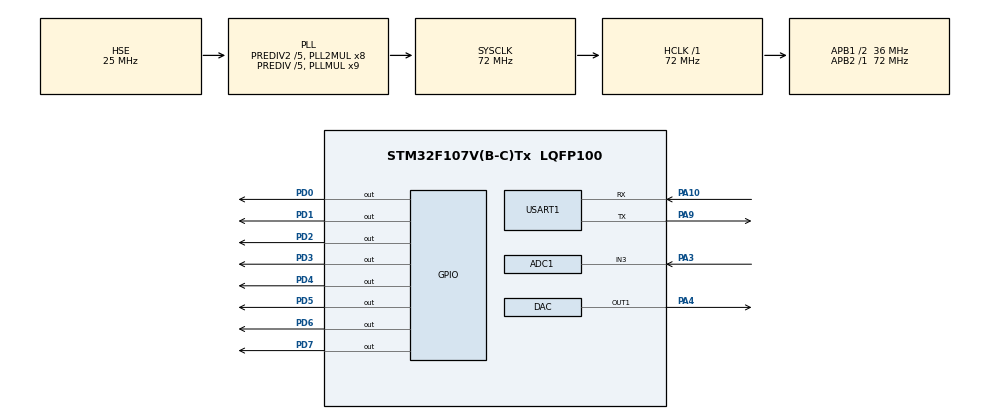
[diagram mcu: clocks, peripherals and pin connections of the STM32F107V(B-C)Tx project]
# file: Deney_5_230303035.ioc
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ADC1.Channel-0\#ChannelRegularConversion=ADC_CHANNEL_3
ADC1.NbrOfConversionFlag=1
ADC1.Rank-0\#ChannelRegularConversion=1
ADC1.SamplingTime-0\#ChannelRegularConversion=ADC_SAMPLETIME_55CYCLES_5
ADC1.master=1
Mcu.Family=STM32F1
Mcu.Name=STM32F107V(B-C)Tx
Mcu.Package=LQFP100
NVIC.PriorityGroup=NVIC_PRIORITYGROUP_4
OSC_IN.Mode=HSE-External-Oscillator
OSC_IN.Signal=RCC_OSC_IN
OSC_OUT.Mode=HSE-External-Oscillator
OSC_OUT.Signal=RCC_OSC_OUT
PA10.Mode=Asynchronous
PA10.Signal=USART1_RX
PA13.Mode=Serial_Wire
PA13.Signal=SYS_JTMS-SWDIO
PA14.Mode=Serial_Wire
PA14.Signal=SYS_JTCK-SWCLK
PA3.Signal=ADCx_IN3
PA4.Signal=COMP_DAC1_group
PA9.Mode=Asynchronous
PA9.Signal=USART1_TX
PD0.Signal=GPIO_Output
PD1.Signal=GPIO_Output
PD2.Signal=GPIO_Output
PD3.Signal=GPIO_Output
PD4.Signal=GPIO_Output
PD5.Signal=GPIO_Output
PD6.Signal=GPIO_Output
PD7.Signal=GPIO_Output
ProjectManager.HeapSize=0x200
ProjectManager.StackSize=0x400
ProjectManager.TargetToolchain=STM32CubeIDE
RCC.ADCPresc=RCC_ADCPCLK2_DIV6
RCC.AHBFreq_Value=72000000
RCC.APB1CLKDivider=RCC_HCLK_DIV2
RCC.APB1Freq_Value=36000000
RCC.APB1TimFreq_Value=72000000
RCC.APB2Freq_Value=72000000
RCC.APB2TimFreq_Value=72000000
RCC.HCLKFreq_Value=72000000
RCC.HSEDivPLL=RCC_HSE_PREDIV_DIV5
RCC.HSE_VALUE=25000000
RCC.PLLMUL=RCC_PLL_MUL9
RCC.PLLSourceVirtual=RCC_PLLSOURCE_HSE
RCC.Prediv1Source=RCC_PREDIV1_SOURCE_PLL2
RCC.Prediv2=RCC_HSE_PREDIV2_DIV5
RCC.SYSCLKFreq_VALUE=72000000
RCC.SYSCLKSource=RCC_SYSCLKSOURCE_PLLCLK
RCC.USBFreq_Value=48000000
SH.ADCx_IN3.0=ADC1_IN3,IN3
SH.COMP_DAC1_group.0=DAC_OUT1,DAC_OUT1
USART1.VirtualMode=VM_ASYNC
board=custom

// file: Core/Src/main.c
/* USER CODE BEGIN Header */
/**
  ******************************************************************************
  * @file           : main.c
  * @brief          : Main program body
  ******************************************************************************
  * @attention
  *
  * Copyright (c) 2026 STMicroelectronics.
  * All rights reserved.
  *
  * This software is licensed under terms that can be found in the LICENSE file
  * in the root directory of this software component.
  * If no LICENSE file comes with this software, it is provided AS-IS.
  *
  ******************************************************************************
  */
/* USER CODE END Header */
#include "main.h"

/* USER CODE BEGIN Includes */

#include <stdio.h>
#include <string.h>

/* USER CODE END Includes */

ADC_HandleTypeDef hadc1;

DAC_HandleTypeDef hdac;

UART_HandleTypeDef huart1;

void SystemClock_Config(void);
static void MX_GPIO_Init(void);
static void MX_ADC1_Init(void);
static void MX_USART1_UART_Init(void);
static void MX_DAC_Init(void);

/* USER CODE BEGIN 0 */

//1. KISIM --- 2.KISIMA BAK!!!!!1
//Video 4 --> aygıt yöneticisinden çalışanı bulacaksın sonra putteyden (videoda com13 115200)hızını ve aygıtı gireceksin videoyu izle
void LED_yak(uint32_t adc_val){
	 if(adc_val < 500)
		 GPIOD->ODR = 0X00000001;
	 if(adc_val > 500 && adc_val < 1000)
		 GPIOD->ODR = 0X00000003;
	 if(adc_val > 1000 && adc_val < 1500)
	 		 GPIOD->ODR = 0X00000007;
}

float ADC_Okuma(){
	uint32_t adc_deger = 0;
	float ADC_gerilim = 0;
	HAL_ADC_Start(&hadc1);
	HAL_ADC_PollForConversion(&hadc1,200);
	adc_deger= HAL_ADC_GetValue(&hadc1);
	LED_yak(adc_deger);
	ADC_gerilim = ((float) adc_deger) * 0.00043956f;
	return ADC_gerilim ;
 }

 void UART_gonder(uint8_t * mesaj, int len){
	 HAL_UART_Transmit(&huart1, mesaj, len, 0xFFF) ;
 }

 uint32_t digital_deger = 0;

/* USER CODE END 0 */

int main(void)
{

  /* USER CODE BEGIN 1 */
	char mesaj[200];
	float gerilim;
  /* USER CODE END 1 */

  /* MCU Configuration--------------------------------------------------------*/

  /* Reset of all peripherals, Initializes the Flash interface and the Systick. */
  HAL_Init();

  /* Configure the system clock */
  SystemClock_Config();

  /* Initialize all configured peripherals */
  MX_GPIO_Init();
  MX_ADC1_Init();
  MX_USART1_UART_Init();
  MX_DAC_Init();
  /* USER CODE BEGIN 2 */

  	  HAL_DAC_Start(&hdac, DAC1_CHANNEL_1);

  /* USER CODE END 2 */

  /* Infinite loop */
  while (1)
  {

    /* USER CODE BEGIN 3 */

	  gerilim = ADC_Okuma();
	  sprintf(mesaj, "Gerilim Degeri = %f \n\r", (gerilim * 1000));
	  UART_gonder((uint8_t *)mesaj, strlen(mesaj));
	  HAL_DAC_SetValue(&hdac, DAC1_CHANNEL_1, DAC_ALIGN_12B_R, digital_deger);
	  HAL_Delay(500);

  }
  /* USER CODE END 3 */
}

void SystemClock_Config(void)
{
  RCC_OscInitTypeDef RCC_OscInitStruct = {0};
  RCC_ClkInitTypeDef RCC_ClkInitStruct = {0};
  RCC_PeriphCLKInitTypeDef PeriphClkInit = {0};

  /** Initializes the RCC Oscillators according to the specified parameters
  * in the RCC_OscInitTypeDef structure.
  */
  RCC_OscInitStruct.OscillatorType = RCC_OSCILLATORTYPE_HSE;
  RCC_OscInitStruct.HSEState = RCC_HSE_ON;
  RCC_OscInitStruct.HSEPredivValue = RCC_HSE_PREDIV_DIV5;
  RCC_OscInitStruct.HSIState = RCC_HSI_ON;
  RCC_OscInitStruct.Prediv1Source = RCC_PREDIV1_SOURCE_PLL2;
  RCC_OscInitStruct.PLL.PLLState = RCC_PLL_ON;
  RCC_OscInitStruct.PLL.PLLSource = RCC_PLLSOURCE_HSE;
  RCC_OscInitStruct.PLL.PLLMUL = RCC_PLL_MUL9;
  RCC_OscInitStruct.PLL2.PLL2State = RCC_PLL2_ON;
  RCC_OscInitStruct.PLL2.PLL2MUL = RCC_PLL2_MUL8;
  RCC_OscInitStruct.PLL2.HSEPrediv2Value = RCC_HSE_PREDIV2_DIV5;
  if (HAL_RCC_OscConfig(&RCC_OscInitStruct) != HAL_OK)
  {
    Error_Handler();
  }

  /** Initializes the CPU, AHB and APB buses clocks
  */
  RCC_ClkInitStruct.ClockType = RCC_CLOCKTYPE_HCLK|RCC_CLOCKTYPE_SYSCLK
                              |RCC_CLOCKTYPE_PCLK1|RCC_CLOCKTYPE_PCLK2;
  RCC_ClkInitStruct.SYSCLKSource = RCC_SYSCLKSOURCE_PLLCLK;
  RCC_ClkInitStruct.AHBCLKDivider = RCC_SYSCLK_DIV1;
  RCC_ClkInitStruct.APB1CLKDivider = RCC_HCLK_DIV2;
  RCC_ClkInitStruct.APB2CLKDivider = RCC_HCLK_DIV1;

  if (HAL_RCC_ClockConfig(&RCC_ClkInitStruct, FLASH_LATENCY_2) != HAL_OK)
  {
    Error_Handler();
  }
  PeriphClkInit.PeriphClockSelection = RCC_PERIPHCLK_ADC;
  PeriphClkInit.AdcClockSelection = RCC_ADCPCLK2_DIV6;
  if (HAL_RCCEx_PeriphCLKConfig(&PeriphClkInit) != HAL_OK)
  {
    Error_Handler();
  }

  /** Configure the Systick interrupt time
  */
  __HAL_RCC_PLLI2S_ENABLE();
}

static void MX_ADC1_Init(void)
{

  ADC_ChannelConfTypeDef sConfig = {0};

  /** Common config
  */
  hadc1.Instance = ADC1;
  hadc1.Init.ScanConvMode = ADC_SCAN_DISABLE;
  hadc1.Init.ContinuousConvMode = DISABLE;
  hadc1.Init.DiscontinuousConvMode = DISABLE;
  hadc1.Init.ExternalTrigConv = ADC_SOFTWARE_START;
  hadc1.Init.DataAlign = ADC_DATAALIGN_RIGHT;
  hadc1.Init.NbrOfConversion = 1;
  if (HAL_ADC_Init(&hadc1) != HAL_OK)
  {
    Error_Handler();
  }

  /** Configure Regular Channel
  */
  sConfig.Channel = ADC_CHANNEL_3;
  sConfig.Rank = ADC_REGULAR_RANK_1;
  sConfig.SamplingTime = ADC_SAMPLETIME_55CYCLES_5;
  if (HAL_ADC_ConfigChannel(&hadc1, &sConfig) != HAL_OK)
  {
    Error_Handler();
  }

}

static void MX_DAC_Init(void)
{

  DAC_ChannelConfTypeDef sConfig = {0};

  /** DAC Initialization
  */
  hdac.Instance = DAC;
  if (HAL_DAC_Init(&hdac) != HAL_OK)
  {
    Error_Handler();
  }

  /** DAC channel OUT1 config
  */
  sConfig.DAC_Trigger = DAC_TRIGGER_NONE;
  sConfig.DAC_OutputBuffer = DAC_OUTPUTBUFFER_ENABLE;
  if (HAL_DAC_ConfigChannel(&hdac, &sConfig, DAC_CHANNEL_1) != HAL_OK)
  {
    Error_Handler();
  }

}

static void MX_USART1_UART_Init(void)
{

  huart1.Instance = USART1;
  huart1.Init.BaudRate = 115200;
  huart1.Init.WordLength = UART_WORDLENGTH_8B;
  huart1.Init.StopBits = UART_STOPBITS_1;
  huart1.Init.Parity = UART_PARITY_NONE;
  huart1.Init.Mode = UART_MODE_TX_RX;
  huart1.Init.HwFlowCtl = UART_HWCONTROL_NONE;
  huart1.Init.OverSampling = UART_OVERSAMPLING_16;
  if (HAL_UART_Init(&huart1) != HAL_OK)
  {
    Error_Handler();
  }

}

static void MX_GPIO_Init(void)
{
  GPIO_InitTypeDef GPIO_InitStruct = {0};

  /* GPIO Ports Clock Enable */
  __HAL_RCC_GPIOA_CLK_ENABLE();
  __HAL_RCC_GPIOD_CLK_ENABLE();

  /*Configure GPIO pin Output Level */
  HAL_GPIO_WritePin(GPIOD, GPIO_PIN_0|GPIO_PIN_1|GPIO_PIN_2|GPIO_PIN_3
                          |GPIO_PIN_4|GPIO_PIN_5|GPIO_PIN_6|GPIO_PIN_7, GPIO_PIN_RESET);

  /*Configure GPIO pins : PD0 PD1 PD2 PD3
                           PD4 PD5 PD6 PD7 */
  GPIO_InitStruct.Pin = GPIO_PIN_0|GPIO_PIN_1|GPIO_PIN_2|GPIO_PIN_3
                          |GPIO_PIN_4|GPIO_PIN_5|GPIO_PIN_6|GPIO_PIN_7;
  GPIO_InitStruct.Mode = GPIO_MODE_OUTPUT_PP;
  GPIO_InitStruct.Pull = GPIO_NOPULL;
  GPIO_InitStruct.Speed = GPIO_SPEED_FREQ_LOW;
  HAL_GPIO_Init(GPIOD, &GPIO_InitStruct);

}

void Error_Handler(void)
{
  __disable_irq();
  while (1)
  {
  }
}
